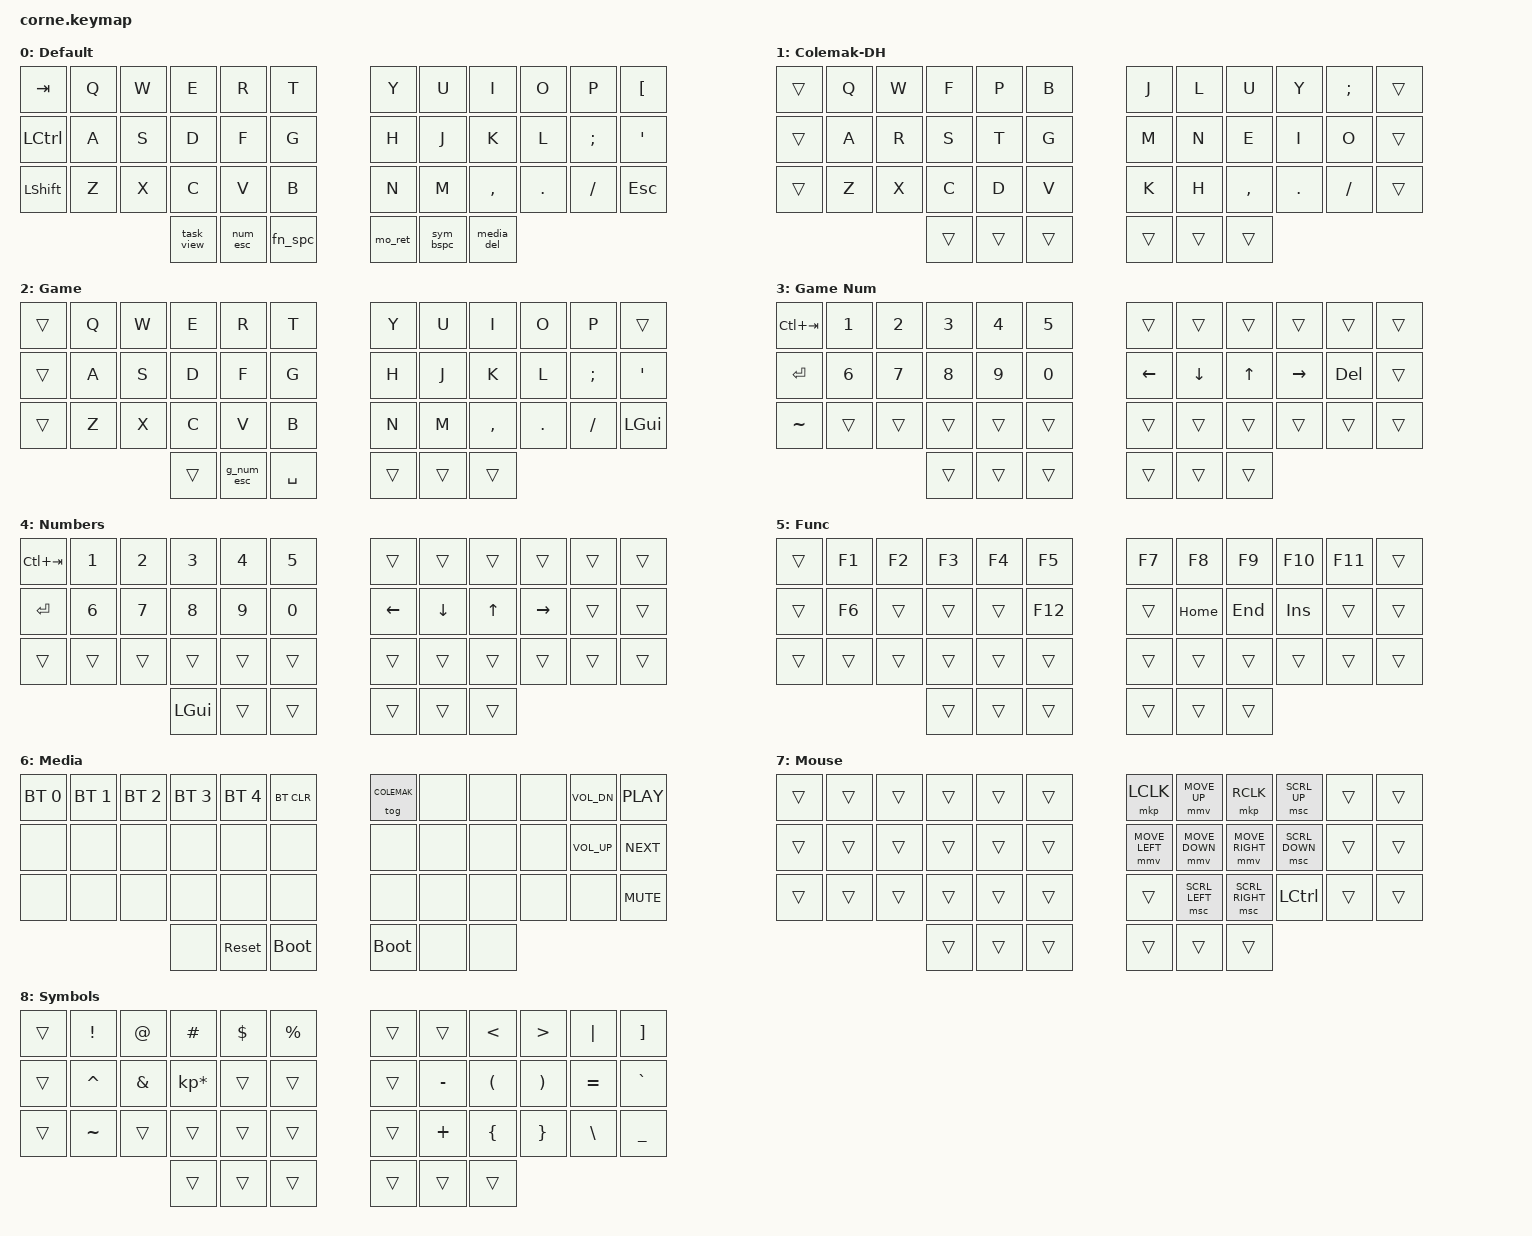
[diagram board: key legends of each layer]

/*
 * Copyright (c) 2020 The ZMK Contributors
 *
 * SPDX-License-Identifier: MIT
 */

#include <behaviors.dtsi>
#include <dt-bindings/zmk/bt.h>
#include <dt-bindings/zmk/keys.h>
#include <dt-bindings/zmk/mouse.h>

#include "shared.dtsi"
#include "mouse.dtsi"

/* Key Positions
╭────────────────────────╮ ╭────────────────────────╮
│  0   1   2   3   4   5 │ │  6   7   8   9  10  11 │
│ 12  13  14  15  16  17 │ │ 18  19  20  21  22  23 │
│ 24  25  26  27  28  29 │ │ 30  31  32  33  34  35 │
╰───────────╮ 36  37  38 │ │ 39  40  41 ╭───────────╯
            ╰────────────╯ ╰────────────╯
*/
/ {

    keymap {
        compatible = "zmk,keymap";

        qwerty {
            display-name = "Default";
            bindings = <
//    ┌──────┬───┬───┬────────────┬──────────┬─────────┐   ┌────────┬───────────┬────────────┬───┬───┬─────┐
//    │ tab  │ Q │ W │     E      │    R     │    T    │   │   Y    │     U     │     I      │ O │ P │  [  │
//    ├──────┼───┼───┼────────────┼──────────┼─────────┤   ├────────┼───────────┼────────────┼───┼───┼─────┤
//    │ lctl │ A │ S │     D      │    F     │    G    │   │   H    │     J     │     K      │ L │ ; │  '  │
//    ├──────┼───┼───┼────────────┼──────────┼─────────┤   ├────────┼───────────┼────────────┼───┼───┼─────┤
//    │ lsft │ Z │ X │     C      │    V     │    B    │   │   N    │     M     │     ,      │ . │ / │ esc │
//    └──────┴───┴───┼────────────┼──────────┼─────────┤   ├────────┼───────────┼────────────┼───┴───┴─────┘
//                   │ &task_view │ &num_esc │ &fn_spc │   │ mo_ret │ &sym_bspc │ &media_del │
//                   └────────────┴──────────┴─────────┘   └────────┴───────────┴────────────┘
  &kp TAB     &kp Q   &kp W   &kp E        &kp R      &kp T         &kp Y     &kp U       &kp I        &kp O     &kp P      &kp LBKT
  &kp LCTRL   &kp A   &kp S   &kp D        &kp F      &kp G         &kp H     &kp J       &kp K        &kp L     &kp SEMI   &kp SQT
  &kp LSHFT   &kp Z   &kp X   &kp C        &kp V      &kp B         &kp N     &kp M       &kp COMMA    &kp DOT   &kp FSLH   &kp ESC
                              &task_view   &num_esc   &fn_spc       &mo_ret   &sym_bspc   &media_del
            >;
        };

        colemak {
            display-name = "Colemak-DH";
            bindings = <
//    ┌─────┬───┬───┬─────┬─────┬─────┐   ┌─────┬─────┬─────┬───┬───┬─────┐
//    │     │ Q │ W │  F  │  P  │  B  │   │  J  │  L  │  U  │ Y │ ; │     │
//    ├─────┼───┼───┼─────┼─────┼─────┤   ├─────┼─────┼─────┼───┼───┼─────┤
//    │     │ A │ R │  S  │  T  │  G  │   │  M  │  N  │  E  │ I │ O │     │
//    ├─────┼───┼───┼─────┼─────┼─────┤   ├─────┼─────┼─────┼───┼───┼─────┤
//    │     │ Z │ X │  C  │  D  │  V  │   │  K  │  H  │  ,  │ . │ / │     │
//    └─────┴───┴───┼─────┼─────┼─────┤   ├─────┼─────┼─────┼───┴───┴─────┘
//                  │     │     │     │   │     │     │     │
//                  └─────┴─────┴─────┘   └─────┴─────┴─────┘
  &trans   &kp Q   &kp W   &kp F    &kp P    &kp B        &kp J    &kp L    &kp U       &kp Y     &kp SEMI   &trans
  &trans   &kp A   &kp R   &kp S    &kp T    &kp G        &kp M    &kp N    &kp E       &kp I     &kp O      &trans
  &trans   &kp Z   &kp X   &kp C    &kp D    &kp V        &kp K    &kp H    &kp COMMA   &kp DOT   &kp FSLH   &trans
                           &trans   &trans   &trans       &trans   &trans   &trans
            >;
        };

        game {
            display-name = "Game";
            bindings = <
//    ┌─────┬───┬───┬─────┬────────────┬─────┐   ┌─────┬─────┬─────┬───┬───┬──────┐
//    │     │ Q │ W │  E  │     R      │  T  │   │  Y  │  U  │  I  │ O │ P │      │
//    ├─────┼───┼───┼─────┼────────────┼─────┤   ├─────┼─────┼─────┼───┼───┼──────┤
//    │     │ A │ S │  D  │     F      │  G  │   │  H  │  J  │  K  │ L │ ; │  '   │
//    ├─────┼───┼───┼─────┼────────────┼─────┤   ├─────┼─────┼─────┼───┼───┼──────┤
//    │     │ Z │ X │  C  │     V      │  B  │   │  N  │  M  │  ,  │ . │ / │ lgui │
//    └─────┴───┴───┼─────┼────────────┼─────┤   ├─────┼─────┼─────┼───┴───┴──────┘
//                  │     │ &g_num_esc │ spc │   │     │     │     │
//                  └─────┴────────────┴─────┘   └─────┴─────┴─────┘
  &trans   &kp Q   &kp W   &kp E    &kp R        &kp T           &kp Y    &kp U    &kp I       &kp O     &kp P      &trans
  &trans   &kp A   &kp S   &kp D    &kp F        &kp G           &kp H    &kp J    &kp K       &kp L     &kp SEMI   &kp SQT
  &trans   &kp Z   &kp X   &kp C    &kp V        &kp B           &kp N    &kp M    &kp COMMA   &kp DOT   &kp FSLH   &kp LGUI
                           &trans   &g_num_esc   &kp SPACE       &trans   &trans   &trans
            >;
        };

        game_num {
            display-name = "Game Num";
            bindings = <
//    ┌───────────┬─────┬─────┬─────┬─────┬─────┐   ┌──────┬──────┬─────┬──────┬─────┬─────┐
//    │ lctl(tab) │  1  │  2  │  3  │  4  │  5  │   │      │      │     │      │     │     │
//    ├───────────┼─────┼─────┼─────┼─────┼─────┤   ├──────┼──────┼─────┼──────┼─────┼─────┤
//    │    ent    │  6  │  7  │  8  │  9  │  0  │   │ left │ down │ up  │ rght │ del │     │
//    ├───────────┼─────┼─────┼─────┼─────┼─────┤   ├──────┼──────┼─────┼──────┼─────┼─────┤
//    │     ~     │     │     │     │     │     │   │      │      │     │      │     │     │
//    └───────────┴─────┴─────┼─────┼─────┼─────┤   ├──────┼──────┼─────┼──────┴─────┴─────┘
//                            │     │     │     │   │      │      │     │
//                            └─────┴─────┴─────┘   └──────┴──────┴─────┘
  &kp LC(TAB)   &kp N1   &kp N2   &kp N3   &kp N4   &kp N5       &trans     &trans     &trans   &trans      &trans    &trans
  &kp RET       &kp N6   &kp N7   &kp N8   &kp N9   &kp N0       &kp LEFT   &kp DOWN   &kp UP   &kp RIGHT   &kp DEL   &trans
  &kp TILDE     &trans   &trans   &trans   &trans   &trans       &trans     &trans     &trans   &trans      &trans    &trans
                                  &trans   &trans   &trans       &trans     &trans     &trans
            >;
        };

        num {
            display-name = "Numbers";
            bindings = <
//    ┌───────────┬─────┬─────┬──────┬─────┬─────┐   ┌──────┬──────┬─────┬──────┬─────┬─────┐
//    │ lctl(tab) │  1  │  2  │  3   │  4  │  5  │   │      │      │     │      │     │     │
//    ├───────────┼─────┼─────┼──────┼─────┼─────┤   ├──────┼──────┼─────┼──────┼─────┼─────┤
//    │    ent    │  6  │  7  │  8   │  9  │  0  │   │ left │ down │ up  │ rght │     │     │
//    ├───────────┼─────┼─────┼──────┼─────┼─────┤   ├──────┼──────┼─────┼──────┼─────┼─────┤
//    │           │     │     │      │     │     │   │      │      │     │      │     │     │
//    └───────────┴─────┴─────┼──────┼─────┼─────┤   ├──────┼──────┼─────┼──────┴─────┴─────┘
//                            │ lgui │     │     │   │      │      │     │
//                            └──────┴─────┴─────┘   └──────┴──────┴─────┘
  &kp LC(TAB)   &kp N1   &kp N2   &kp N3     &kp N4   &kp N5       &trans     &trans     &trans   &trans      &trans   &trans
  &kp RET       &kp N6   &kp N7   &kp N8     &kp N9   &kp N0       &kp LEFT   &kp DOWN   &kp UP   &kp RIGHT   &trans   &trans
  &trans        &trans   &trans   &trans     &trans   &trans       &trans     &trans     &trans   &trans      &trans   &trans
                                  &kp LGUI   &trans   &trans       &trans     &trans     &trans
            >;
        };

        fn {
            display-name = "Func";
            bindings = <
//    ┌─────┬─────┬─────┬─────┬─────┬─────┐   ┌─────┬──────┬─────┬─────┬─────┬─────┐
//    │     │ f1  │ f2  │ f3  │ f4  │ f5  │   │ f7  │  f8  │ f9  │ f10 │ f11 │     │
//    ├─────┼─────┼─────┼─────┼─────┼─────┤   ├─────┼──────┼─────┼─────┼─────┼─────┤
//    │     │ f6  │     │     │     │ f12 │   │     │ home │ end │ ins │     │     │
//    ├─────┼─────┼─────┼─────┼─────┼─────┤   ├─────┼──────┼─────┼─────┼─────┼─────┤
//    │     │     │     │     │     │     │   │     │      │     │     │     │     │
//    └─────┴─────┴─────┼─────┼─────┼─────┤   ├─────┼──────┼─────┼─────┴─────┴─────┘
//                      │     │     │     │   │     │      │     │
//                      └─────┴─────┴─────┘   └─────┴──────┴─────┘
  &trans   &kp F1   &kp F2   &kp F3   &kp F4   &kp F5        &kp F7   &kp F8     &kp F9    &kp F10   &kp F11   &trans
  &trans   &kp F6   &trans   &trans   &trans   &kp F12       &trans   &kp HOME   &kp END   &kp INS   &trans    &trans
  &trans   &trans   &trans   &trans   &trans   &trans        &trans   &trans     &trans    &trans    &trans    &trans
                             &trans   &trans   &trans        &trans   &trans     &trans
            >;
        };

        media {
            display-name = "Media";
            bindings = <
//    ┌──────────┬──────────┬──────────┬──────────┬────────────┬────────┐   ┌─────────────┬─────┬─────┬─────┬──────┬──────┐
//    │ bt_sel 0 │ bt_sel 1 │ bt_sel 2 │ bt_sel 3 │  bt_sel 4  │ bt_clr │   │ tog COLEMAK │     │     │     │ vold │ play │
//    ├──────────┼──────────┼──────────┼──────────┼────────────┼────────┤   ├─────────────┼─────┼─────┼─────┼──────┼──────┤
//    │          │          │          │          │            │        │   │             │     │     │     │ volu │ next │
//    ├──────────┼──────────┼──────────┼──────────┼────────────┼────────┤   ├─────────────┼─────┼─────┼─────┼──────┼──────┤
//    │          │          │          │          │            │        │   │             │     │     │     │      │ mute │
//    └──────────┴──────────┴──────────┼──────────┼────────────┼────────┤   ├─────────────┼─────┼─────┼─────┴──────┴──────┘
//                                     │          │ &sys_reset │  boot  │   │    boot     │     │     │
//                                     └──────────┴────────────┴────────┘   └─────────────┴─────┴─────┘
  &bt BT_SEL 0   &bt BT_SEL 1   &bt BT_SEL 2   &bt BT_SEL 3   &bt BT_SEL 4   &bt BT_CLR        &tog COLEMAK   &none   &none   &none   &kp C_VOL_DN   &kp C_PLAY
  &none          &none          &none          &none          &none          &none             &none          &none   &none   &none   &kp C_VOL_UP   &kp C_NEXT
  &none          &none          &none          &none          &none          &none             &none          &none   &none   &none   &none          &kp C_MUTE
                                               &none          &sys_reset     &bootloader       &bootloader    &none   &none
            >;
        };

        mouse {
            display-name = "Mouse";
            bindings = <
//    ┌─────┬─────┬─────┬─────┬─────┬─────┐   ┌────────────────┬────────────────┬────────────────┬────────────────┬─────┬─────┐
//    │     │     │     │     │     │     │   │      lclk      │  &mmv MOVE_up  │      rclk      │  &msc SCRL_up  │     │     │
//    ├─────┼─────┼─────┼─────┼─────┼─────┤   ├────────────────┼────────────────┼────────────────┼────────────────┼─────┼─────┤
//    │     │     │     │     │     │     │   │ &mmv MOVE_left │ &mmv MOVE_down │ &mmv MOVE_rght │ &msc SCRL_down │     │     │
//    ├─────┼─────┼─────┼─────┼─────┼─────┤   ├────────────────┼────────────────┼────────────────┼────────────────┼─────┼─────┤
//    │     │     │     │     │     │     │   │                │ &msc SCRL_left │ &msc SCRL_rght │      lctl      │     │     │
//    └─────┴─────┴─────┼─────┼─────┼─────┤   ├────────────────┼────────────────┼────────────────┼────────────────┴─────┴─────┘
//                      │     │     │     │   │                │                │                │
//                      └─────┴─────┴─────┘   └────────────────┴────────────────┴────────────────┘
  &trans   &trans   &trans   &trans   &trans   &trans       &mkp LCLK        &mmv MOVE_UP     &mkp RCLK         &msc SCRL_UP     &trans   &trans
  &trans   &trans   &trans   &trans   &trans   &trans       &mmv MOVE_LEFT   &mmv MOVE_DOWN   &mmv MOVE_RIGHT   &msc SCRL_DOWN   &trans   &trans
  &trans   &trans   &trans   &trans   &trans   &trans       &trans           &msc SCRL_LEFT   &msc SCRL_RIGHT   &kp LCTRL        &trans   &trans
                             &trans   &trans   &trans       &trans           &trans           &trans
            >;
        };

        sym  {
            display-name = "Symbols";
            bindings = <
//    ┌─────┬───┬─────┬──────┬─────┬─────┐   ┌─────┬─────┬─────┬───┬───┬───┐
//    │     │ ! │  @  │  #   │  $  │  %  │   │     │     │  <  │ > │ | │ ] │
//    ├─────┼───┼─────┼──────┼─────┼─────┤   ├─────┼─────┼─────┼───┼───┼───┤
//    │     │ ^ │  &  │ kp_* │     │     │   │     │  -  │  (  │ ) │ = │ ` │
//    ├─────┼───┼─────┼──────┼─────┼─────┤   ├─────┼─────┼─────┼───┼───┼───┤
//    │     │ ~ │     │      │     │     │   │     │  +  │  {  │ } │ \ │ _ │
//    └─────┴───┴─────┼──────┼─────┼─────┤   ├─────┼─────┼─────┼───┴───┴───┘
//                    │      │     │     │   │     │     │     │
//                    └──────┴─────┴─────┘   └─────┴─────┴─────┘
  &trans   &kp EXCL    &kp AT     &kp HASH          &kp DLLR   &kp PRCNT       &trans   &trans      &kp LT     &kp GT     &kp PIPE    &kp RBKT
  &trans   &kp CARET   &kp AMPS   &kp KP_MULTIPLY   &trans     &trans          &trans   &kp MINUS   &kp LPAR   &kp RPAR   &kp EQUAL   &kp GRAVE
  &trans   &kp TILDE   &trans     &trans            &trans     &trans          &trans   &kp PLUS    &kp LBRC   &kp RBRC   &kp BSLH    &kp UNDER
                                  &trans            &trans     &trans          &trans   &trans      &trans
            >;
        };

    };
};
